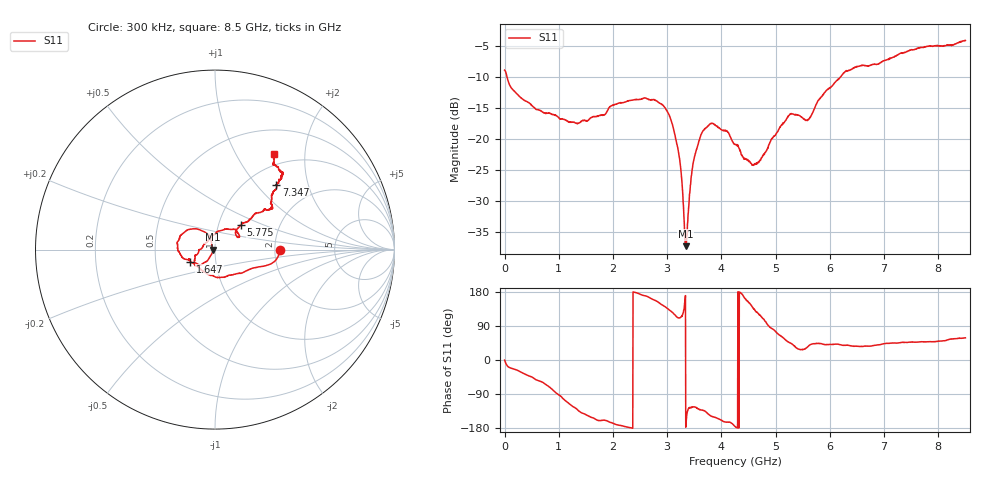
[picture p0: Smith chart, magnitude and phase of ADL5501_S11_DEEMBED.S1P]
!Agilent Technologies,E5071B,MY42403616,A.09.10
!Date: Mon Jul 10 16:33:43 2017
!Data & Calibration Information:
!Freq	S11:SOLT1(ON)
# Hz S dB R 50
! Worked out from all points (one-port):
!   1601 points, 300 kHz to 8.5 GHz, reference 50 ohm
!   lowest |S11| = -37.4 dB at 3.342 GHz (marker M1), VSWR 1.03, Z = 48.7 - j0.0612 ohm
!   |S11| at or under -10 dB: 47.3 MHz to 6.191 GHz (6.143 GHz wide, 197 % of centre)
!   S11 on the Smith chart (normalised r, x): 300 kHz: 2.13, -0.01; 1.647 GHz: 0.75, -0.10; 5.775 GHz: 1.28, +0.37; 7.347 GHz: 1.33, +1.28; 8.5 GHz: 0.82, +1.45
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300000  -8.83 -0.2
1.224832e8  -11.71 -21.8
3.031018e8  -13.34 -32.1
1.062762e9  -16.72 -99.6
1.647117e9  -16.34 -153.8
2.125225e9  -14.14 -172.4
2.582084e9  -13.34 169.5
2.900823e9  -14.36 146.0
3.05488e9  -16.54 130.2
3.187688e9  -21.21 112.5
3.246123e9  -24.41 112.7
3.315183e9  -33.77 139.9
3.341745e9  -37.37 -177.3
3.368306e9  -35.02 -139.2
3.432054e9  -27.27 -125.9
3.479865e9  -23.83 -123.8
3.649859e9  -18.83 -132.1
3.846414e9  -17.48 -150.0
4.25015e9  -20.87 -175.5
4.409519e9  -23.17 167.8
4.632636e9  -24.07 128.6
5.312612e9  -15.93 41.0
5.58354e9  -17.00 33.9
5.774784e9  -13.91 43.7
6.375075e9  -8.80 37.8
7.347228e9  -6.07 46.8
7.437538e9  -5.75 46.5
8.5e9  -4.05 58.5
